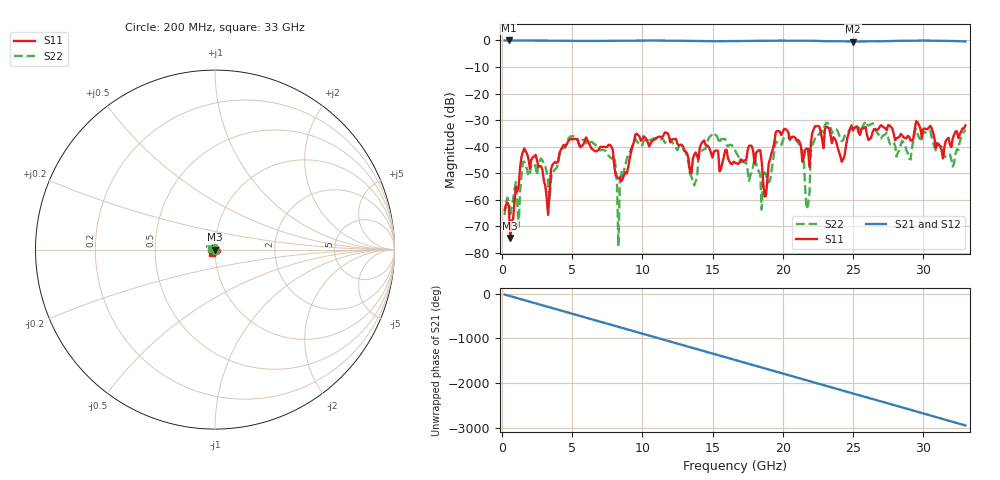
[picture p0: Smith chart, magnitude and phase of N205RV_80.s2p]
# GHZ S RI R 50
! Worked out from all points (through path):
!   329 points, 200 MHz to 33 GHz, reference 50 ohm
!   highest |S21| = 0.00 dB at 500 MHz (marker M1); lowest = -0.4 dB at 25 GHz (marker M2)
!   group delay of S21, straight-line fit = 248 ps
!   lowest |S11| = -74.4 dB at 600 MHz (marker M3), VSWR 1.00, Z = 50 - j0.00163 ohm
!   |S11| at or under -10 dB: start of sweep to end of sweep
!   |S22| runs from -77.5 to -30.4 dB; largest |S21 - S12| = 0.0019
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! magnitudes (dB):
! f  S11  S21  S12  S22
! 200 MHz  -63.8  0.0  0.0  -65.7
! 500 MHz  -62.4  0.0  0.0  -60.7
! 600 MHz  -74.4  0.0  0.0  -66.2
! 1 GHz  -55.1  0.0  0.0  -53.3
! 1.2 GHz  -54.9  0.0  0.0  -70.1
! 1.6 GHz  -40.7  0.0  0.0  -45.7
! 3.3 GHz  -65.7  -0.1  -0.1  -53.3
! 3.6 GHz  -46.9  -0.1  -0.1  -49.2
! 5.7 GHz  -39.8  -0.2  -0.2  -37.7
! 8 GHz  -47.0  -0.1  -0.1  -43.4
! 8.3 GHz  -52.0  -0.1  -0.1  -77.5
! 8.5 GHz  -53.1  -0.1  -0.1  -49.2
! 11.2 GHz  -36.2  -0.1  -0.1  -37.3
! 13.7 GHz  -43.0  -0.2  -0.2  -54.6
! 16.6 GHz  -46.0  -0.3  -0.3  -41.4
! 18.5 GHz  -45.6  -0.1  -0.1  -63.7
! 20.8 GHz  -36.2  -0.1  -0.1  -36.2
! 21.7 GHz  -40.8  -0.1  -0.1  -63.5
! 22.1 GHz  -34.8  -0.1  -0.1  -39.3
! 25 GHz  -33.9  -0.4  -0.4  -32.1
! 27.6 GHz  -32.0  -0.2  -0.2  -38.7
! 33 GHz  -32.0  -0.4  -0.4  -33.6
